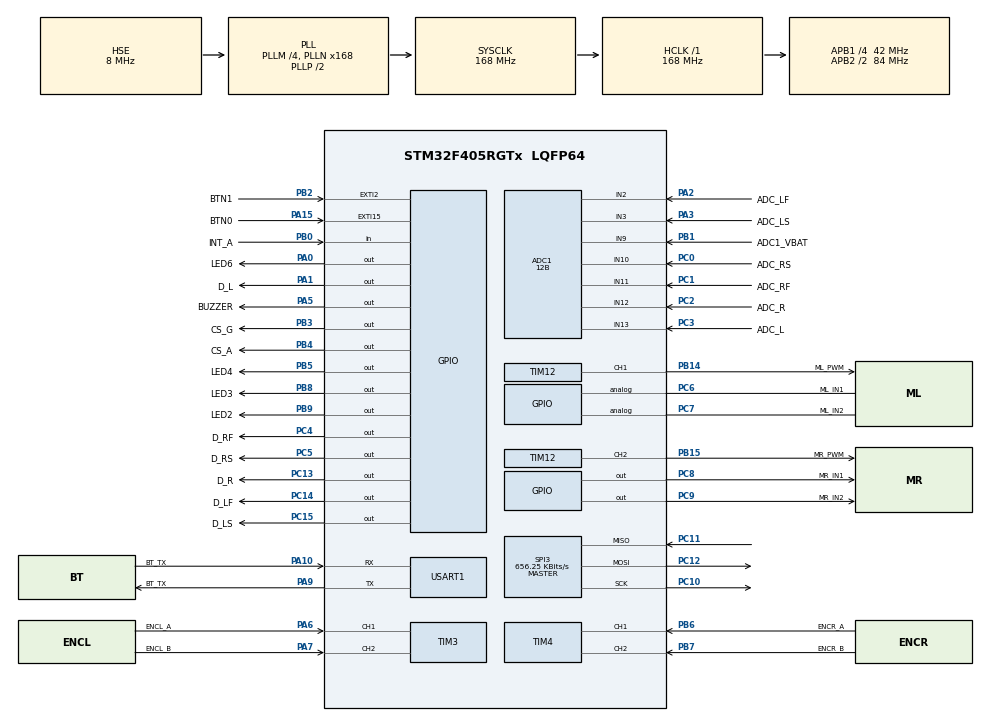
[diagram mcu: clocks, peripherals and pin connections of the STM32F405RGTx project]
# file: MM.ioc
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ADC1.Channel-8\#ChannelRegularConversion=ADC_CHANNEL_VREFINT
ADC1.ClockPrescaler=ADC_CLOCK_SYNC_PCLK_DIV4
ADC1.ContinuousConvMode=DISABLE
ADC1.DMAContinuousRequests=DISABLE
ADC1.DataAlign=ADC_DATAALIGN_RIGHT
ADC1.DiscontinuousConvMode=DISABLE
ADC1.EOCSelection=ADC_EOC_SINGLE_CONV
ADC1.EnableAnalogWatchDog=false
ADC1.ExternalTrigConvEdge=ADC_EXTERNALTRIGCONVEDGE_NONE
ADC1.InjNumberOfConversion=0
ADC1.NbrOfConversion=1
ADC1.NbrOfConversionFlag=1
ADC1.Rank-8\#ChannelRegularConversion=1
ADC1.Resolution=ADC_RESOLUTION_12B
ADC1.SamplingTime-8\#ChannelRegularConversion=ADC_SAMPLETIME_3CYCLES
ADC1.ScanConvMode=DISABLE
ADC1.master=1
Mcu.Family=STM32F4
Mcu.Name=STM32F405RGTx
Mcu.Package=LQFP64
NVIC.ADC_IRQn=true\:10\:0\:true\:false\:true
NVIC.EXTI15_10_IRQn=true\:15\:0\:true\:false\:true
NVIC.EXTI2_IRQn=true\:15\:0\:true\:false\:true
NVIC.PriorityGroup=NVIC_PRIORITYGROUP_4
NVIC.SPI3_IRQn=true\:5\:0\:true\:false\:true
NVIC.USART1_IRQn=true\:5\:0\:true\:false\:true
PA0-WKUP.GPIO_Label=LED6
PA0-WKUP.Signal=GPIO_Output
PA1.GPIO_Label=D_L
PA1.Signal=GPIO_Output
PA10.GPIO_Label=BT_TX
PA10.Mode=Asynchronous
PA10.Signal=USART1_RX
PA13.Mode=Serial-Wire
PA13.Signal=SYS_JTMS-SWDIO
PA14.Mode=Serial-Wire
PA14.Signal=SYS_JTCK-SWCLK
PA15.GPIO_Label=BTN0
PA15.Signal=GPXTI15
PA2.GPIO_Label=ADC_LF
PA2.Signal=ADCx_IN2
PA3.GPIO_Label=ADC_LS
PA3.Signal=ADCx_IN3
PA5.GPIO_Label=BUZZER
PA5.Signal=GPIO_Output
PA6.GPIO_Label=ENCL_A
PA6.Signal=S_TIM3_CH1
PA7.GPIO_Label=ENCL_B
PA7.Signal=S_TIM3_CH2
PA9.GPIO_Label=BT_TX
PA9.Mode=Asynchronous
PA9.Signal=USART1_TX
PB0.GPIO_Label=INT_A
PB0.Signal=GPIO_Input
PB1.GPIO_Label=ADC1_VBAT
PB1.Signal=ADCx_IN9
PB14.GPIO_Label=ML_PWM
PB14.Signal=S_TIM12_CH1
PB15.GPIO_Label=MR_PWM
PB15.Signal=S_TIM12_CH2
PB2.GPIO_Label=BTN1
PB2.Signal=GPXTI2
PB3.GPIO_Label=CS_G
PB3.Signal=GPIO_Output
PB4.GPIO_Label=CS_A
PB4.Signal=GPIO_Output
PB5.GPIO_Label=LED4
PB5.Signal=GPIO_Output
PB6.GPIO_Label=ENCR_A
PB6.Signal=S_TIM4_CH1
PB7.GPIO_Label=ENCR_B
PB7.Signal=S_TIM4_CH2
PB8.GPIO_Label=LED3
PB8.Signal=GPIO_Output
PB9.GPIO_Label=LED2
PB9.Signal=GPIO_Output
PC0.GPIO_Label=ADC_RS
PC0.Signal=ADCx_IN10
PC1.GPIO_Label=ADC_RF
PC1.Signal=ADCx_IN11
PC10.Mode=Full_Duplex_Master
PC10.Signal=SPI3_SCK
PC11.Mode=Full_Duplex_Master
PC11.Signal=SPI3_MISO
PC12.Mode=Full_Duplex_Master
PC12.Signal=SPI3_MOSI
PC13-ANTI_TAMP.GPIO_Label=D_R
PC13-ANTI_TAMP.Signal=GPIO_Output
PC14-OSC32_IN.GPIO_Label=D_LF
PC14-OSC32_IN.Signal=GPIO_Output
PC15-OSC32_OUT.GPIO_Label=D_LS
PC15-OSC32_OUT.Signal=GPIO_Output
PC2.GPIO_Label=ADC_R
PC2.Signal=ADCx_IN12
PC3.GPIO_Label=ADC_L
PC3.Signal=ADCx_IN13
PC4.GPIO_Label=D_RF
PC4.Signal=GPIO_Output
PC5.GPIO_Label=D_RS
PC5.Signal=GPIO_Output
PC6.GPIO_Label=ML_IN1
PC6.Signal=GPIO_Analog
PC7.GPIO_Label=ML_IN2
PC7.Signal=GPIO_Analog
PC8.GPIO_Label=MR_IN1
PC8.Signal=GPIO_Output
PC9.GPIO_Label=MR_IN2
PC9.Signal=GPIO_Output
PH0-OSC_IN.Mode=HSE-External-Oscillator
PH0-OSC_IN.Signal=RCC_OSC_IN
PH1-OSC_OUT.Mode=HSE-External-Oscillator
PH1-OSC_OUT.Signal=RCC_OSC_OUT
ProjectManager.HeapSize=0x400
ProjectManager.StackSize=0x200
ProjectManager.TargetToolchain=MDK-ARM V5
RCC.48MHZClocksFreq_Value=84000000
RCC.AHBFreq_Value=168000000
RCC.APB1CLKDivider=RCC_HCLK_DIV4
RCC.APB1Freq_Value=42000000
RCC.APB1TimFreq_Value=84000000
RCC.APB2CLKDivider=RCC_HCLK_DIV2
RCC.APB2Freq_Value=84000000
RCC.APB2TimFreq_Value=168000000
RCC.CortexFreq_Value=168000000
RCC.HCLKFreq_Value=168000000
RCC.HSE_VALUE=8000000
RCC.HSI_VALUE=16000000
RCC.LSE_VALUE=32768
RCC.PLLM=4
RCC.PLLN=168
RCC.PLLSourceVirtual=RCC_PLLSOURCE_HSE
RCC.SYSCLKFreq_VALUE=168000000
RCC.SYSCLKSource=RCC_SYSCLKSOURCE_PLLCLK
RCC.VCOOutputFreq_Value=336000000
SH.ADCx_IN10.0=ADC1_IN10,IN10
SH.ADCx_IN11.0=ADC1_IN11,IN11
SH.ADCx_IN12.0=ADC1_IN12,IN12
SH.ADCx_IN13.0=ADC1_IN13,IN13
SH.ADCx_IN2.0=ADC1_IN2,IN2
SH.ADCx_IN3.0=ADC1_IN3,IN3
SH.ADCx_IN9.0=ADC1_IN9,IN9
SH.S_TIM12_CH1.0=TIM12_CH1,PWM Generation1 CH1
SH.S_TIM12_CH2.0=TIM12_CH2,PWM Generation2 CH2
SH.S_TIM3_CH1.0=TIM3_CH1,Encoder_Interface
SH.S_TIM3_CH2.0=TIM3_CH2,Encoder_Interface
SH.S_TIM4_CH1.0=TIM4_CH1,Encoder_Interface
SH.S_TIM4_CH2.0=TIM4_CH2,Encoder_Interface
SPI3.BaudRatePrescaler=SPI_BAUDRATEPRESCALER_64
SPI3.CalculateBaudRate=656.25 KBits/s
SPI3.Mode=SPI_MODE_MASTER
TIM12.Channel-PWM\ Generation2\ CH2=TIM_CHANNEL_2
VP_ADC1_TempSens_Input.Mode=IN-TempSens
VP_ADC1_Vref_Input.Mode=IN-Vrefint
board=MM

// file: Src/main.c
/**
  ******************************************************************************
  * File Name          : main.c
  * Description        : Main program body
  ******************************************************************************
  *
  * COPYRIGHT(c) 2016 STMicroelectronics
  *
  * Redistribution and use in source and binary forms, with or without modification,
  * are permitted provided that the following conditions are met:
  *   1. Redistributions of source code must retain the above copyright notice,
  *      this list of conditions and the following disclaimer.
  *   2. Redistributions in binary form must reproduce the above copyright notice,
  *      this list of conditions and the following disclaimer in the documentation
  *      and/or other materials provided with the distribution.
  *   3. Neither the name of STMicroelectronics nor the names of its contributors
  *      may be used to endorse or promote products derived from this software
  *      without specific prior written permission.
  *
  * THIS SOFTWARE IS PROVIDED BY THE COPYRIGHT HOLDERS AND CONTRIBUTORS "AS IS"
  * AND ANY EXPRESS OR IMPLIED WARRANTIES, INCLUDING, BUT NOT LIMITED TO, THE
  * IMPLIED WARRANTIES OF MERCHANTABILITY AND FITNESS FOR A PARTICULAR PURPOSE ARE
  * DISCLAIMED. IN NO EVENT SHALL THE COPYRIGHT HOLDER OR CONTRIBUTORS BE LIABLE
  * FOR ANY DIRECT, INDIRECT, INCIDENTAL, SPECIAL, EXEMPLARY, OR CONSEQUENTIAL
  * DAMAGES (INCLUDING, BUT NOT LIMITED TO, PROCUREMENT OF SUBSTITUTE GOODS OR
  * SERVICES; LOSS OF USE, DATA, OR PROFITS; OR BUSINESS INTERRUPTION) HOWEVER
  * CAUSED AND ON ANY THEORY OF LIABILITY, WHETHER IN CONTRACT, STRICT LIABILITY,
  * OR TORT (INCLUDING NEGLIGENCE OR OTHERWISE) ARISING IN ANY WAY OUT OF THE USE
  * OF THIS SOFTWARE, EVEN IF ADVISED OF THE POSSIBILITY OF SUCH DAMAGE.
  *
  ******************************************************************************
  */
#define USE_FULL_ASSERT
#include "stm32f4xx_hal.h"
#include "../UI.h"

ADC_HandleTypeDef hadc1;

SPI_HandleTypeDef hspi3;

TIM_HandleTypeDef htim3;
TIM_HandleTypeDef htim4;
TIM_HandleTypeDef htim12;

UART_HandleTypeDef huart1;

/* USER CODE BEGIN PV */
/* Private variables ---------------------------------------------------------*/

/* USER CODE END PV */

void SystemClock_Config(void);
static void MX_GPIO_Init(void);
static void MX_ADC1_Init(void);
static void MX_SPI3_Init(void);
static void MX_TIM3_Init(void);
static void MX_TIM4_Init(void);
static void MX_TIM12_Init(void);
static void MX_USART1_UART_Init(void);

void HAL_TIM_MspPostInit(TIM_HandleTypeDef *htim);

/* USER CODE BEGIN PFP */
/* Private function prototypes -----------------------------------------------*/

/* USER CODE END PFP */

int main(void)
{

  /* MCU Configuration----------------------------------------------------------*/

  /* Reset of all peripherals, Initializes the Flash interface and the Systick. */
  HAL_Init();

  /* Configure the system clock */
  SystemClock_Config();

  /* Initialize all configured peripherals */
  //MX_GPIO_Init();
  MX_ADC1_Init();
  MX_SPI3_Init();
  MX_TIM3_Init();
  MX_TIM4_Init();
  MX_TIM12_Init();
  MX_USART1_UART_Init();

  /* USER CODE BEGIN 2 */
	printf_("Czesc!\n");
	UI_LedOff();
	UI_Init();
	UI_Beep(100, 100);

  /* USER CODE END 2 */

  /* Infinite loop */
  /* USER CODE BEGIN WHILE */
	//gpio_pin_cfg(MR_PWM_GPIO_Port, MR_PWM_Pin, gpio_mode_AF9_PP_LS);
	//gpio_pin_cfg(ML_PWM_GPIO_Port, ML_PWM_Pin, gpio_mode_AF9_PP_LS);
	gpio_pin_cfg(MR_PWM_GPIO_Port, MR_PWM_Pin, gpio_mode_output_PP_LS);
	gpio_pin_cfg(ML_PWM_GPIO_Port, ML_PWM_Pin, gpio_mode_output_PP_LS);
	gpio_pin_cfg(LED2_GPIO_Port, LED2_Pin, gpio_mode_output_PP_LS);
	gpio_pin_cfg(LED3_GPIO_Port, LED3_Pin, gpio_mode_output_PP_LS);
	gpio_pin_cfg(LED4_GPIO_Port, LED4_Pin, gpio_mode_output_PP_LS);
	HAL_GPIO_WritePin(LED3_GPIO_Port, LED3_Pin, GPIO_PIN_SET);
	HAL_GPIO_WritePin(LED4_GPIO_Port, LED4_Pin, GPIO_PIN_RESET);
	HAL_GPIO_WritePin(ML_IN1_GPIO_Port, ML_IN1_Pin, GPIO_PIN_SET);
	HAL_GPIO_WritePin(MR_IN1_GPIO_Port, MR_IN1_Pin, GPIO_PIN_SET);
  while (1)
	{
		/* USER CODE END WHILE */
		HAL_Delay(1000);
		HAL_GPIO_TogglePin(LED2_GPIO_Port, LED2_Pin);
		HAL_GPIO_TogglePin(ML_PWM_GPIO_Port, ML_PWM_Pin);
		HAL_GPIO_TogglePin(MR_PWM_GPIO_Port, MR_PWM_Pin);

  }

}

/** System Clock Configuration
*/
void SystemClock_Config(void)
{

  RCC_OscInitTypeDef RCC_OscInitStruct;
  RCC_ClkInitTypeDef RCC_ClkInitStruct;

  __HAL_RCC_PWR_CLK_ENABLE();

  __HAL_PWR_VOLTAGESCALING_CONFIG(PWR_REGULATOR_VOLTAGE_SCALE1);

  RCC_OscInitStruct.OscillatorType = RCC_OSCILLATORTYPE_HSE;
  RCC_OscInitStruct.HSEState = RCC_HSE_ON;
  RCC_OscInitStruct.PLL.PLLState = RCC_PLL_ON;
  RCC_OscInitStruct.PLL.PLLSource = RCC_PLLSOURCE_HSE;
  RCC_OscInitStruct.PLL.PLLM = 4;
  RCC_OscInitStruct.PLL.PLLN = 168;
  RCC_OscInitStruct.PLL.PLLP = RCC_PLLP_DIV2;
  RCC_OscInitStruct.PLL.PLLQ = 4;
  HAL_RCC_OscConfig(&RCC_OscInitStruct);

  RCC_ClkInitStruct.ClockType = RCC_CLOCKTYPE_HCLK|RCC_CLOCKTYPE_SYSCLK
                              |RCC_CLOCKTYPE_PCLK1|RCC_CLOCKTYPE_PCLK2;
  RCC_ClkInitStruct.SYSCLKSource = RCC_SYSCLKSOURCE_PLLCLK;
  RCC_ClkInitStruct.AHBCLKDivider = RCC_SYSCLK_DIV1;
  RCC_ClkInitStruct.APB1CLKDivider = RCC_HCLK_DIV4;
  RCC_ClkInitStruct.APB2CLKDivider = RCC_HCLK_DIV2;
  HAL_RCC_ClockConfig(&RCC_ClkInitStruct, FLASH_LATENCY_5);

  HAL_SYSTICK_Config(HAL_RCC_GetHCLKFreq()/1000);

  HAL_SYSTICK_CLKSourceConfig(SYSTICK_CLKSOURCE_HCLK);

  /* SysTick_IRQn interrupt configuration */
  HAL_NVIC_SetPriority(SysTick_IRQn, 0, 0);
}

/* ADC1 init function */
void MX_ADC1_Init(void)
{

  ADC_ChannelConfTypeDef sConfig;

    /**Configure the global features of the ADC (Clock, Resolution, Data Alignment and number of conversion)
    */
  hadc1.Instance = ADC1;
  hadc1.Init.ClockPrescaler = ADC_CLOCK_SYNC_PCLK_DIV4;
  hadc1.Init.Resolution = ADC_RESOLUTION_12B;
  hadc1.Init.ScanConvMode = DISABLE;
  hadc1.Init.ContinuousConvMode = DISABLE;
  hadc1.Init.DiscontinuousConvMode = DISABLE;
  hadc1.Init.ExternalTrigConvEdge = ADC_EXTERNALTRIGCONVEDGE_NONE;
  hadc1.Init.DataAlign = ADC_DATAALIGN_RIGHT;
  hadc1.Init.NbrOfConversion = 1;
  hadc1.Init.DMAContinuousRequests = DISABLE;
  hadc1.Init.EOCSelection = ADC_EOC_SINGLE_CONV;
  HAL_ADC_Init(&hadc1);

    /**Configure for the selected ADC regular channel its corresponding rank in the sequencer and its sample time.
    */
  sConfig.Channel = ADC_CHANNEL_VREFINT;
  sConfig.Rank = 1;
  sConfig.SamplingTime = ADC_SAMPLETIME_3CYCLES;
  HAL_ADC_ConfigChannel(&hadc1, &sConfig);

}

/* SPI3 init function */
void MX_SPI3_Init(void)
{

  hspi3.Instance = SPI3;
  hspi3.Init.Mode = SPI_MODE_MASTER;
  hspi3.Init.Direction = SPI_DIRECTION_2LINES;
  hspi3.Init.DataSize = SPI_DATASIZE_8BIT;
  hspi3.Init.CLKPolarity = SPI_POLARITY_LOW;
  hspi3.Init.CLKPhase = SPI_PHASE_1EDGE;
  hspi3.Init.NSS = SPI_NSS_SOFT;
  hspi3.Init.BaudRatePrescaler = SPI_BAUDRATEPRESCALER_64;
  hspi3.Init.FirstBit = SPI_FIRSTBIT_MSB;
  hspi3.Init.TIMode = SPI_TIMODE_DISABLE;
  hspi3.Init.CRCCalculation = SPI_CRCCALCULATION_DISABLE;
  hspi3.Init.CRCPolynomial = 10;
  HAL_SPI_Init(&hspi3);

}

/* TIM3 init function */
void MX_TIM3_Init(void)
{

  TIM_Encoder_InitTypeDef sConfig;
  TIM_MasterConfigTypeDef sMasterConfig;

  htim3.Instance = TIM3;
  htim3.Init.Prescaler = 0;
  htim3.Init.CounterMode = TIM_COUNTERMODE_UP;
  htim3.Init.Period = 0;
  htim3.Init.ClockDivision = TIM_CLOCKDIVISION_DIV1;
  sConfig.EncoderMode = TIM_ENCODERMODE_TI1;
  sConfig.IC1Polarity = TIM_ICPOLARITY_RISING;
  sConfig.IC1Selection = TIM_ICSELECTION_DIRECTTI;
  sConfig.IC1Prescaler = TIM_ICPSC_DIV1;
  sConfig.IC1Filter = 0;
  sConfig.IC2Polarity = TIM_ICPOLARITY_RISING;
  sConfig.IC2Selection = TIM_ICSELECTION_DIRECTTI;
  sConfig.IC2Prescaler = TIM_ICPSC_DIV1;
  sConfig.IC2Filter = 0;
  HAL_TIM_Encoder_Init(&htim3, &sConfig);

  sMasterConfig.MasterOutputTrigger = TIM_TRGO_RESET;
  sMasterConfig.MasterSlaveMode = TIM_MASTERSLAVEMODE_DISABLE;
  HAL_TIMEx_MasterConfigSynchronization(&htim3, &sMasterConfig);

}

/* TIM4 init function */
void MX_TIM4_Init(void)
{

  TIM_Encoder_InitTypeDef sConfig;
  TIM_MasterConfigTypeDef sMasterConfig;

  htim4.Instance = TIM4;
  htim4.Init.Prescaler = 0;
  htim4.Init.CounterMode = TIM_COUNTERMODE_UP;
  htim4.Init.Period = 0;
  htim4.Init.ClockDivision = TIM_CLOCKDIVISION_DIV1;
  sConfig.EncoderMode = TIM_ENCODERMODE_TI1;
  sConfig.IC1Polarity = TIM_ICPOLARITY_RISING;
  sConfig.IC1Selection = TIM_ICSELECTION_DIRECTTI;
  sConfig.IC1Prescaler = TIM_ICPSC_DIV1;
  sConfig.IC1Filter = 0;
  sConfig.IC2Polarity = TIM_ICPOLARITY_RISING;
  sConfig.IC2Selection = TIM_ICSELECTION_DIRECTTI;
  sConfig.IC2Prescaler = TIM_ICPSC_DIV1;
  sConfig.IC2Filter = 0;
  HAL_TIM_Encoder_Init(&htim4, &sConfig);

  sMasterConfig.MasterOutputTrigger = TIM_TRGO_RESET;
  sMasterConfig.MasterSlaveMode = TIM_MASTERSLAVEMODE_DISABLE;
  HAL_TIMEx_MasterConfigSynchronization(&htim4, &sMasterConfig);

}

/* TIM12 init function */
void MX_TIM12_Init(void)
{

  TIM_OC_InitTypeDef sConfigOC;

  htim12.Instance = TIM12;
  htim12.Init.Prescaler = 0;
  htim12.Init.CounterMode = TIM_COUNTERMODE_UP;
  htim12.Init.Period = 0;
  htim12.Init.ClockDivision = TIM_CLOCKDIVISION_DIV1;
  HAL_TIM_PWM_Init(&htim12);

  sConfigOC.OCMode = TIM_OCMODE_PWM1;
  sConfigOC.Pulse = 0;
  sConfigOC.OCPolarity = TIM_OCPOLARITY_HIGH;
  sConfigOC.OCFastMode = TIM_OCFAST_DISABLE;
  HAL_TIM_PWM_ConfigChannel(&htim12, &sConfigOC, TIM_CHANNEL_1);

  HAL_TIM_PWM_ConfigChannel(&htim12, &sConfigOC, TIM_CHANNEL_2);

  HAL_TIM_MspPostInit(&htim12);

}

/* USART1 init function */
void MX_USART1_UART_Init(void)
{

  huart1.Instance = USART1;
  huart1.Init.BaudRate = 115200;
  huart1.Init.WordLength = UART_WORDLENGTH_8B;
  huart1.Init.StopBits = UART_STOPBITS_1;
  huart1.Init.Parity = UART_PARITY_NONE;
  huart1.Init.Mode = UART_MODE_TX_RX;
  huart1.Init.HwFlowCtl = UART_HWCONTROL_NONE;
  huart1.Init.OverSampling = UART_OVERSAMPLING_16;
  HAL_UART_Init(&huart1);

}

/** Configure pins as
        * Analog
        * Input
        * Output
        * EVENT_OUT
        * EXTI
*/
void MX_GPIO_Init(void)
{

  GPIO_InitTypeDef GPIO_InitStruct;

  /* GPIO Ports Clock Enable */
  __HAL_RCC_GPIOC_CLK_ENABLE();
  __HAL_RCC_GPIOH_CLK_ENABLE();
  __HAL_RCC_GPIOA_CLK_ENABLE();
  __HAL_RCC_GPIOB_CLK_ENABLE();

  /*Configure GPIO pin Output Level */
  HAL_GPIO_WritePin(GPIOC, D_R_Pin|D_LF_Pin|D_LS_Pin|D_RF_Pin
                          |D_RS_Pin|MR_IN1_Pin|MR_IN2_Pin, GPIO_PIN_RESET);

  /*Configure GPIO pin Output Level */
  HAL_GPIO_WritePin(GPIOA, LED6_Pin|D_L_Pin|BUZZER_Pin, GPIO_PIN_RESET);

  /*Configure GPIO pin Output Level */
  HAL_GPIO_WritePin(GPIOB, CS_G_Pin|CS_A_Pin|LED4_Pin|LED3_Pin
                          |LED2_Pin, GPIO_PIN_RESET);

  /*Configure GPIO pins : D_R_Pin D_LF_Pin D_LS_Pin D_RF_Pin
                           D_RS_Pin MR_IN1_Pin MR_IN2_Pin */
  GPIO_InitStruct.Pin = D_R_Pin|D_LF_Pin|D_LS_Pin|D_RF_Pin
                          |D_RS_Pin|MR_IN1_Pin|MR_IN2_Pin;
  GPIO_InitStruct.Mode = GPIO_MODE_OUTPUT_PP;
  GPIO_InitStruct.Pull = GPIO_NOPULL;
  GPIO_InitStruct.Speed = GPIO_SPEED_FREQ_LOW;
  HAL_GPIO_Init(GPIOC, &GPIO_InitStruct);

  /*Configure GPIO pins : LED6_Pin D_L_Pin BUZZER_Pin */
  GPIO_InitStruct.Pin = LED6_Pin|D_L_Pin|BUZZER_Pin;
  GPIO_InitStruct.Mode = GPIO_MODE_OUTPUT_PP;
  GPIO_InitStruct.Pull = GPIO_NOPULL;
  GPIO_InitStruct.Speed = GPIO_SPEED_FREQ_LOW;
  HAL_GPIO_Init(GPIOA, &GPIO_InitStruct);

  /*Configure GPIO pin : INT_A_Pin */
  GPIO_InitStruct.Pin = INT_A_Pin;
  GPIO_InitStruct.Mode = GPIO_MODE_INPUT;
  GPIO_InitStruct.Pull = GPIO_NOPULL;
  HAL_GPIO_Init(INT_A_GPIO_Port, &GPIO_InitStruct);

  /*Configure GPIO pin : BTN1_Pin */
  GPIO_InitStruct.Pin = BTN1_Pin;
  GPIO_InitStruct.Mode = GPIO_MODE_IT_RISING;
  GPIO_InitStruct.Pull = GPIO_NOPULL;
  HAL_GPIO_Init(BTN1_GPIO_Port, &GPIO_InitStruct);

  /*Configure GPIO pins : ML_IN1_Pin ML_IN2_Pin */
  GPIO_InitStruct.Pin = ML_IN1_Pin|ML_IN2_Pin;
  GPIO_InitStruct.Mode = GPIO_MODE_OUTPUT_PP;
  GPIO_InitStruct.Pull = GPIO_NOPULL;
  HAL_GPIO_Init(GPIOC, &GPIO_InitStruct);

  /*Configure GPIO pin : BTN0_Pin */
  GPIO_InitStruct.Pin = BTN0_Pin;
  GPIO_InitStruct.Mode = GPIO_MODE_IT_RISING;
  GPIO_InitStruct.Pull = GPIO_NOPULL;
  HAL_GPIO_Init(BTN0_GPIO_Port, &GPIO_InitStruct);

  /*Configure GPIO pins : CS_G_Pin CS_A_Pin LED4_Pin LED3_Pin
                           LED2_Pin */
  GPIO_InitStruct.Pin = CS_G_Pin|CS_A_Pin|LED4_Pin|LED3_Pin
                          |LED2_Pin;
  GPIO_InitStruct.Mode = GPIO_MODE_OUTPUT_PP;
  GPIO_InitStruct.Pull = GPIO_NOPULL;
  GPIO_InitStruct.Speed = GPIO_SPEED_FREQ_LOW;
  HAL_GPIO_Init(GPIOB, &GPIO_InitStruct);

  /* EXTI interrupt init*/
  HAL_NVIC_SetPriority(EXTI2_IRQn, 15, 0);
  HAL_NVIC_EnableIRQ(EXTI2_IRQn);

  HAL_NVIC_SetPriority(EXTI15_10_IRQn, 15, 0);
  HAL_NVIC_EnableIRQ(EXTI15_10_IRQn);

}

#ifdef USE_FULL_ASSERT

/**
   * @brief Reports the name of the source file and the source line number
   * where the assert_param error has occurred.
   * @param file: pointer to the source file name
   * @param line: assert_param error line source number
   * @retval None
   */
void assert_failed(uint8_t* file, uint32_t line)
{
  /* USER CODE BEGIN 6 */

	while(1)
	{
		printf_("Wrong parameters value: file %s on line %d\r\n", file, line);
		HAL_GPIO_WritePin(LED2_GPIO_Port, LED2_Pin, GPIO_PIN_SET);
		HAL_GPIO_WritePin(LED3_GPIO_Port, LED3_Pin, GPIO_PIN_SET);
		HAL_Delay(100);
		HAL_GPIO_WritePin(LED2_GPIO_Port, LED2_Pin, GPIO_PIN_RESET);
		HAL_GPIO_WritePin(LED3_GPIO_Port, LED3_Pin, GPIO_PIN_RESET);
		HAL_Delay(100);

	}
  /* USER CODE END 6 */

}

#endif

/************************ (C) COPYRIGHT STMicroelectronics *****END OF FILE****/
